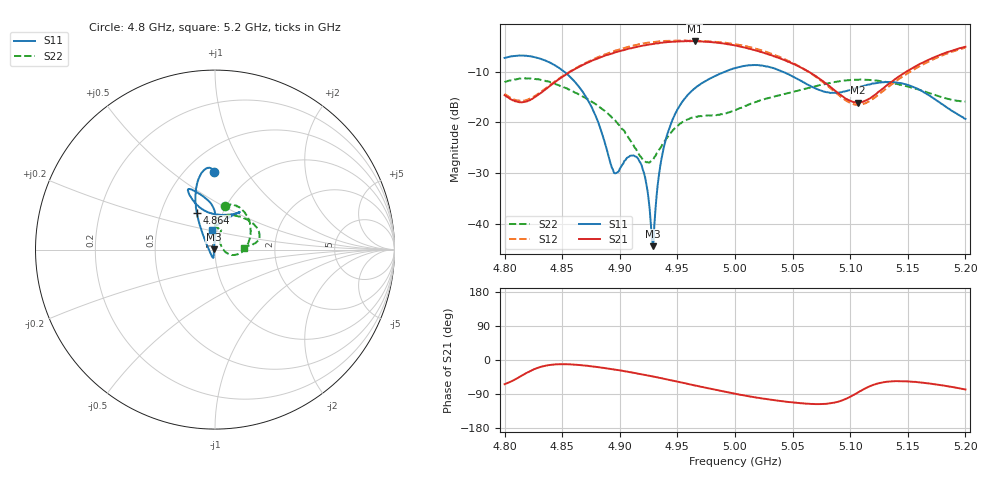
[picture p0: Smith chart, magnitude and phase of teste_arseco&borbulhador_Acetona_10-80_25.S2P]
! Network Analyzer HP8722D
! Hewlett-Packard
! Data name: Linha & Wilkinson
! Saver's name: Rodrigo Anjos
! Comments: Teste da utilização de aquisição
! continua pelo VNA HP8722D
! Time and date: 25/4/2025 15:28
!  Frequency  S11  S21  S12  S22
# HZ  S  MA R 50
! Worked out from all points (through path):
!   401 points, 4.8 GHz to 5.2 GHz, reference 50 ohm
!   highest |S21| = -3.94 dB at 4.965 GHz (marker M1); lowest = -16.1 dB at 5.107 GHz (marker M2)
!   lowest |S11| = -44.5 dB at 4.929 GHz (marker M3), VSWR 1.01, Z = 49.4 + j0.21 ohm
!   |S11| at or under -10 dB: 4.852 GHz to 4.991 GHz (139.4 MHz wide, 2.83 % of centre); 5.042 GHz to end of sweep
!   |S22| runs from -27.9 to -11.3 dB; largest |S21 - S12| = 1.2
!   S11 on the Smith chart (normalised r, x): 4.8 GHz: 0.68, +0.73; 4.864 GHz: 0.75, +0.33; 5.2 GHz: 0.94, +0.20
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4.8e9  0.4331 90.4  0.1856 -63.8  0.1913 69.7  0.2487 77.1
4.82e9  0.4514 96.7  0.1624 -32.4  0.1677 98.5  0.272 61.5
4.864e9  0.229 116.3  0.3509 -12.9  0.3541 121.0  0.1898 11.8
4.867e9  0.2061 118.0  0.3654 -14.0  0.369 120.6  0.1827 8.3
4.88e9  0.1084 128.5  0.4245 -18.5  0.4347 118.1  0.1488 -5.8
4.895e9  0.0316 -169.9  0.4882 -25.0  0.5039 113.8  0.1065 -16.4
4.909e9  0.04678 -105.2  0.5378 -32.1  0.5616 107.6  0.06668 -15.3
4.917e9  0.04121 -100.7  0.5635 -36.5  0.5923 103.5  0.04738 -2.2
4.922e9  0.02848 -104.1  0.5778 -39.5  0.6057 100.6  0.04093 15.0
4.927e9  0.009798 -130.3  0.5908 -42.6  0.6181 97.5  0.0413 37.4
4.929e9  0.00598 159.2  0.595 -43.7  0.6224 96.5  0.04279 45.7
4.934e9  0.03024 98.3  0.6054 -46.9  0.6315 93.3  0.05354 59.1
4.939e9  0.06161 92.2  0.6175 -50.0  0.6369 89.9  0.06552 66.7
4.945e9  0.1009 89.6  0.6248 -53.9  0.6409 86.3  0.08035 70.8
4.965e9  0.2161 90.6  0.6352 -67.1  0.639 73.4  0.1131 72.1
5e9  0.3439 108.9  0.5747 -89.2  0.5928 50.7  0.1318 89.0
5.03e9  0.3512 114.9  0.4654 -104.4  0.4827 33.7  0.1747 85.4
5.067e9  0.2239 104.7  0.3014 -115.9  0.2988 23.5  0.2231 57.1
5.107e9  0.221 63.3  0.1566 -85.1  0.1488 57.9  0.2635 24.2
5.134e9  0.25 56.5  0.2424 -56.8  0.2278 88.7  0.2479 12.4
5.168e9  0.1865 68.4  0.4151 -61.9  0.3986 85.2  0.1954 7.0
5.2e9  0.1081 99.8  0.5587 -77.7  0.5466 70.1  0.1602 3.9
